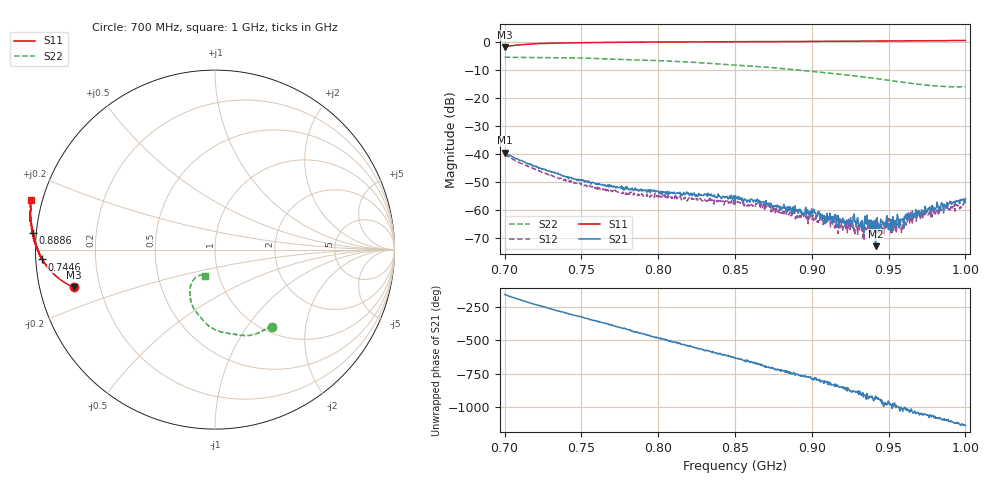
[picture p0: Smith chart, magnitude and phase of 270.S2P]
! C:\Users\rflab\Downloads\Lab5_KD_ZW\Q2\728 MHz\270.S2P
! Touchstone 1.1 file saved by VNA.EXE V1.65 (www.ke5fx.com/gpib/readme.htm)
! 11/18/2024 9:26:52 PM
!  Source: HEWLETT PACKARD,8753D,0,6.14
!  Min freq: 7.000000E+008 Hz
!  Max freq: 1.000000E+009 Hz
!  Points: 801
!  Params: S11 S21 S12 S22
# GHZ S MA R 50
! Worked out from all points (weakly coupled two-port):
!   801 points, 700 MHz to 1 GHz, reference 50 ohm
!   highest |S21| = -39.55 dB at 700 MHz (marker M1); lowest = -73.0 dB at 941.5 MHz (marker M2)
!   lowest |S11| = -1.8 dB at 700 MHz (marker M3), VSWR 9.66, Z = 5.26 - j6.53 ohm
!   |S11| at or under -10 dB: nowhere
!   |S22| runs from -16.1 to -5.5 dB; largest |S21 - S12| = 0.0033
!   S11 on the Smith chart (normalised r, x): 700 MHz: 0.11, -0.13; 744.6 MHz: 0.02, -0.03; 888.6 MHz: -0.01, +0.04; 1 GHz: -0.03, +0.13
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0.7  0.8124 -164.9  0.01053 -154.2  0.009872 -172.3  0.5335 -53.7
0.71875  0.9219 -172.5  0.0062 134.5  0.00549 115.2  0.5251 -58.1
0.744625  0.9646 -176.7  0.003689 51.8  0.003159 33.5  0.5189 -66.2
0.75025  0.9703 -177.3  0.003329 36.6  0.002797 17.8  0.5144 -68.2
0.800125  0.9939 179.2  0.002043 -121.6  0.001844 -137.1  0.4626 -84.8
0.85  1.011 176.7  0.001411 92.4  0.001255 74.3  0.3856 -102.3
0.87175  1.011 176.0  0.00132 22.5  0.001085 8.4  0.3504 -109.2
0.888625  1.019 174.9  0.000921 -26.5  0.000933 -40.6  0.3194 -114.6
0.90025  1.02 174.6  0.000862 -69.0  0.000673 -93.1  0.2971 -117.9
0.903625  1.025 174.4  0.000767 -76.2  0.000611 -91.8  0.29 -118.6
0.91  1.026 174.2  0.000866 -93.6  0.000632 -121.1  0.2787 -120.0
0.916  1.024 173.8  0.000534 -116.4  0.00071 -132.4  0.2679 -121.3
0.919  1.026 173.5  0.000653 -130.1  0.000588 -145.2  0.2633 -122.0
0.928375  1.029 173.1  0.000627 -169.9  0.000488 164.5  0.2461 -123.7
0.930625  1.029 172.7  0.000569 172.7  0.000479 179.4  0.2422 -124.2
0.9325  1.03 172.5  0.00047 175.6  0.000428 159.8  0.2385 -124.2
0.93475  1.034 172.4  0.000775 169.9  0.000628 162.0  0.2346 -124.6
0.9415  1.032 171.9  0.000225 161.5  0.000483 141.4  0.2217 -125.3
0.950125  1.044 171.2  0.000443 114.6  0.000699 74.0  0.2059 -125.5
0.95275  1.042 171.0  0.000755 106.0  0.000521 78.4  0.2012 -125.3
0.974125  1.049 169.1  0.001075 24.9  0.000842 4.1  0.1701 -121.6
1  1.059 165.0  0.0016 -58.7  0.001318 -76.5  0.1585 -110.7
